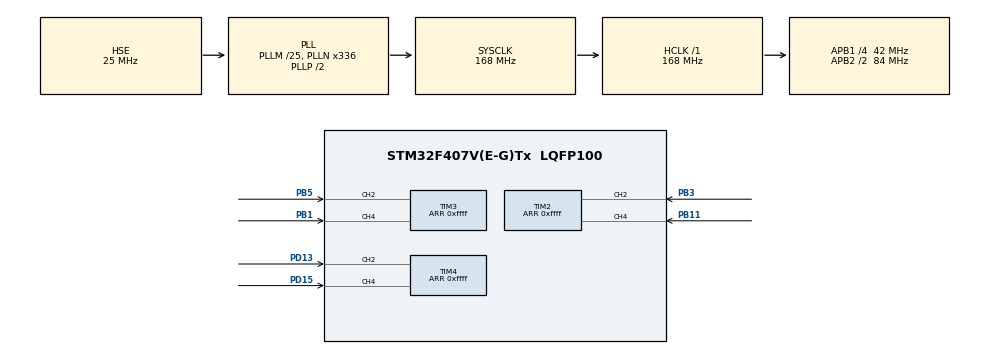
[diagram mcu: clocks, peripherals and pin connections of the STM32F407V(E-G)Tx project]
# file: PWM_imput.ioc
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Mcu.Family=STM32F4
Mcu.Name=STM32F407V(E-G)Tx
Mcu.Package=LQFP100
NVIC.PriorityGroup=NVIC_PRIORITYGROUP_4
NVIC.TIM2_IRQn=true\:0\:0\:false\:false\:true\:true\:true
NVIC.TIM3_IRQn=true\:0\:0\:false\:false\:true\:true\:true
NVIC.TIM4_IRQn=true\:0\:0\:false\:false\:true\:true\:true
PB1.Signal=S_TIM3_CH4
PB11.Signal=S_TIM2_CH4
PB3.Signal=S_TIM2_CH2
PB5.Signal=S_TIM3_CH2
PD13.Signal=S_TIM4_CH2
PD15.Signal=S_TIM4_CH4
PH0-OSC_IN.Mode=HSE-External-Oscillator
PH0-OSC_IN.Signal=RCC_OSC_IN
PH1-OSC_OUT.Mode=HSE-External-Oscillator
PH1-OSC_OUT.Signal=RCC_OSC_OUT
ProjectManager.HeapSize=0x200
ProjectManager.StackSize=0x400
ProjectManager.TargetToolchain=MDK-ARM V5.27
RCC.48MHZClocksFreq_Value=84000000
RCC.AHBFreq_Value=168000000
RCC.APB1CLKDivider=RCC_HCLK_DIV4
RCC.APB1Freq_Value=42000000
RCC.APB1TimFreq_Value=84000000
RCC.APB2CLKDivider=RCC_HCLK_DIV2
RCC.APB2Freq_Value=84000000
RCC.APB2TimFreq_Value=168000000
RCC.CortexFreq_Value=168000000
RCC.HCLKFreq_Value=168000000
RCC.HSE_VALUE=25000000
RCC.HSI_VALUE=16000000
RCC.LSE_VALUE=32768
RCC.PLLM=25
RCC.PLLN=336
RCC.PLLSourceVirtual=RCC_PLLSOURCE_HSE
RCC.SYSCLKFreq_VALUE=168000000
RCC.SYSCLKSource=RCC_SYSCLKSOURCE_PLLCLK
RCC.VCOOutputFreq_Value=336000000
SH.S_TIM2_CH2.0=TIM2_CH2,TriggerSource_TI2FP2
SH.S_TIM2_CH2.1=TIM2_CH2,Input_Capture2_from_TI2
SH.S_TIM2_CH2.2=TIM2_CH2,Input_Capture1_from_TI2
SH.S_TIM2_CH4.0=TIM2_CH4,Input_Capture3_from_TI4
SH.S_TIM2_CH4.1=TIM2_CH4,Input_Capture4_from_TI4
SH.S_TIM3_CH2.0=TIM3_CH2,Input_Capture2_from_TI2
SH.S_TIM3_CH2.1=TIM3_CH2,Input_Capture1_from_TI2
SH.S_TIM3_CH2.2=TIM3_CH2,TriggerSource_TI2FP2
SH.S_TIM3_CH4.0=TIM3_CH4,Input_Capture4_from_TI4
SH.S_TIM3_CH4.1=TIM3_CH4,Input_Capture3_from_TI4
SH.S_TIM4_CH2.0=TIM4_CH2,TriggerSource_TI2FP2
SH.S_TIM4_CH2.1=TIM4_CH2,Input_Capture2_from_TI2
SH.S_TIM4_CH2.2=TIM4_CH2,Input_Capture1_from_TI2
SH.S_TIM4_CH4.0=TIM4_CH4,Input_Capture4_from_TI4
SH.S_TIM4_CH4.1=TIM4_CH4,Input_Capture3_from_TI4
TIM2.Channel-Input_Capture1_from_TI2=TIM_CHANNEL_1
TIM2.Channel-Input_Capture2_from_TI2=TIM_CHANNEL_2
TIM2.Channel-Input_Capture3_from_TI4=TIM_CHANNEL_3
TIM2.Channel-Input_Capture4_from_TI4=TIM_CHANNEL_4
TIM2.ICPolarity_CH1=TIM_INPUTCHANNELPOLARITY_FALLING
TIM2.ICPolarity_CH3=TIM_INPUTCHANNELPOLARITY_FALLING
TIM2.Period=0xffff
TIM3.Channel-Input_Capture1_from_TI2=TIM_CHANNEL_1
TIM3.Channel-Input_Capture2_from_TI2=TIM_CHANNEL_2
TIM3.Channel-Input_Capture3_from_TI4=TIM_CHANNEL_3
TIM3.Channel-Input_Capture4_from_TI4=TIM_CHANNEL_4
TIM3.ICPolarity_CH1=TIM_INPUTCHANNELPOLARITY_FALLING
TIM3.ICPolarity_CH3=TIM_INPUTCHANNELPOLARITY_FALLING
TIM3.Period=0xffff
TIM4.Channel-Input_Capture1_from_TI2=TIM_CHANNEL_1
TIM4.Channel-Input_Capture2_from_TI2=TIM_CHANNEL_2
TIM4.Channel-Input_Capture3_from_TI4=TIM_CHANNEL_3
TIM4.Channel-Input_Capture4_from_TI4=TIM_CHANNEL_4
TIM4.ICPolarity_CH1=TIM_INPUTCHANNELPOLARITY_FALLING
TIM4.ICPolarity_CH3=TIM_INPUTCHANNELPOLARITY_FALLING
TIM4.Period=0xffff
VP_TIM2_VS_ControllerModeReset.Mode=Reset Mode
VP_TIM3_VS_ControllerModeReset.Mode=Reset Mode
VP_TIM4_VS_ControllerModeReset.Mode=Reset Mode
board=custom

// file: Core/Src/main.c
/* USER CODE BEGIN Header */
/**
  ******************************************************************************
  * @file           : main.c
  * @brief          : Main program body
  ******************************************************************************
  * @attention
  *
  * <h2><center>&copy; Copyright (c) 2021 STMicroelectronics.
  * All rights reserved.</center></h2>
  *
  * This software component is licensed by ST under BSD 3-Clause license,
  * the "License"; You may not use this file except in compliance with the
  * License. You may obtain a copy of the License at:
  *                        opensource.org/licenses/BSD-3-Clause
  *
  ******************************************************************************
  */
/* USER CODE END Header */
#include "main.h"
#include "tim.h"
#include "gpio.h"

/* USER CODE BEGIN PV */
uint32_t IC_Val1;
uint32_t IC_Val2;

uint32_t Frequency_2;
uint32_t Duty_Cycle_2;

uint32_t Frequency_2_;
uint32_t Duty_Cycle_2_;

uint32_t Frequency_3;
uint32_t Duty_Cycle_3;

uint32_t Frequency_3_;
uint32_t Duty_Cycle_3_;

uint32_t Frequency_4;
uint32_t Duty_Cycle_4;

uint32_t Frequency_4_;
uint32_t Duty_Cycle_4_;
/* USER CODE END PV */

void SystemClock_Config(void);

int main(void)
{

  /* MCU Configuration--------------------------------------------------------*/

  /* Reset of all peripherals, Initializes the Flash interface and the Systick. */
  HAL_Init();

  /* Configure the system clock */
  SystemClock_Config();

  /* Initialize all configured peripherals */
  MX_GPIO_Init();
  MX_TIM2_Init();
  MX_TIM3_Init();
  MX_TIM4_Init();
  /* USER CODE BEGIN 2 */
	HAL_TIM_IC_Start_IT(&htim2, TIM_CHANNEL_1);
	HAL_TIM_IC_Start_IT(&htim2, TIM_CHANNEL_2);
	HAL_TIM_IC_Start_IT(&htim2, TIM_CHANNEL_3);
	HAL_TIM_IC_Start_IT(&htim2, TIM_CHANNEL_4);

	HAL_TIM_IC_Start_IT(&htim3, TIM_CHANNEL_1);
	HAL_TIM_IC_Start_IT(&htim3, TIM_CHANNEL_2);
	HAL_TIM_IC_Start_IT(&htim3, TIM_CHANNEL_3);
	HAL_TIM_IC_Start_IT(&htim3, TIM_CHANNEL_4);

	HAL_TIM_IC_Start_IT(&htim4, TIM_CHANNEL_1);
	HAL_TIM_IC_Start_IT(&htim4, TIM_CHANNEL_2);
	HAL_TIM_IC_Start_IT(&htim4, TIM_CHANNEL_3);
	HAL_TIM_IC_Start_IT(&htim4, TIM_CHANNEL_4);
  /* USER CODE END 2 */

  /* Infinite loop */
  while (1)
  {

  }
}

void SystemClock_Config(void)
{
  RCC_OscInitTypeDef RCC_OscInitStruct = {0};
  RCC_ClkInitTypeDef RCC_ClkInitStruct = {0};

  /** Configure the main internal regulator output voltage
  */
  __HAL_RCC_PWR_CLK_ENABLE();
  __HAL_PWR_VOLTAGESCALING_CONFIG(PWR_REGULATOR_VOLTAGE_SCALE1);
  /** Initializes the RCC Oscillators according to the specified parameters
  * in the RCC_OscInitTypeDef structure.
  */
  RCC_OscInitStruct.OscillatorType = RCC_OSCILLATORTYPE_HSE;
  RCC_OscInitStruct.HSEState = RCC_HSE_ON;
  RCC_OscInitStruct.PLL.PLLState = RCC_PLL_ON;
  RCC_OscInitStruct.PLL.PLLSource = RCC_PLLSOURCE_HSE;
  RCC_OscInitStruct.PLL.PLLM = 25;
  RCC_OscInitStruct.PLL.PLLN = 336;
  RCC_OscInitStruct.PLL.PLLP = RCC_PLLP_DIV2;
  RCC_OscInitStruct.PLL.PLLQ = 4;
  if (HAL_RCC_OscConfig(&RCC_OscInitStruct) != HAL_OK)
  {
    Error_Handler();
  }
  /** Initializes the CPU, AHB and APB buses clocks
  */
  RCC_ClkInitStruct.ClockType = RCC_CLOCKTYPE_HCLK|RCC_CLOCKTYPE_SYSCLK
                              |RCC_CLOCKTYPE_PCLK1|RCC_CLOCKTYPE_PCLK2;
  RCC_ClkInitStruct.SYSCLKSource = RCC_SYSCLKSOURCE_PLLCLK;
  RCC_ClkInitStruct.AHBCLKDivider = RCC_SYSCLK_DIV1;
  RCC_ClkInitStruct.APB1CLKDivider = RCC_HCLK_DIV4;
  RCC_ClkInitStruct.APB2CLKDivider = RCC_HCLK_DIV2;

  if (HAL_RCC_ClockConfig(&RCC_ClkInitStruct, FLASH_LATENCY_5) != HAL_OK)
  {
    Error_Handler();
  }
}

/* USER CODE BEGIN 4 */
//Write Input Capture Call Back
void HAL_TIM_IC_CaptureCallback(TIM_HandleTypeDef *htim)
{
  /* Prevent unused argument(s) compilation warning */
  UNUSED(htim);

  /* NOTE : This function should not be modified, when the callback is needed,
            the HAL_TIM_IC_CaptureCallback could be implemented in the user file
   */
	//Timer 2 PWM interrupt
	if(htim->Instance == TIM2){
      if(htim -> Channel == HAL_TIM_ACTIVE_CHANNEL_2) {
	 //Read Captured Value
	 //First Value - time period of the pulse
	 IC_Val1 = HAL_TIM_ReadCapturedValue(htim, TIM_CHANNEL_2);

	 if(IC_Val1 != 0)
	 {
		 //Second Vlaue - time for the pulse remain high
		 IC_Val2 = HAL_TIM_ReadCapturedValue(htim, TIM_CHANNEL_1);

		 //Calculate Duty Cycle - set to integer = IC_Val2_2 / IC_Val1_2 * 100
		 Duty_Cycle_2 = IC_Val2 * 100 / IC_Val1;

		 //Calculated Frequency - Timer Clock / IC_Val1_2, which timerclock = 2 * pclk1
		 Frequency_2 = 2 * HAL_RCC_GetPCLK1Freq() / IC_Val1;
	 }
	  else
		{
			Duty_Cycle_2 = 0;
			Frequency_2 = 0;
		}
	 }

	 if(htim -> Channel == HAL_TIM_ACTIVE_CHANNEL_4) {
	 //Read Captured Value
	 //First Value - time period of the pulse

	 IC_Val1 = HAL_TIM_ReadCapturedValue(htim, TIM_CHANNEL_4);

	 if(IC_Val1 != 0)
	 {
		 //Second Vlaue - time for the pulse remain high
		 IC_Val2 = HAL_TIM_ReadCapturedValue(htim, TIM_CHANNEL_3);

		 //Calculate Duty Cycle - set to integer = IC_Val2_2 / IC_Val1_2 * 100
		 Duty_Cycle_2_ = IC_Val2 * 100 / IC_Val1;

		 //Calculated Frequency - Timer Clock / IC_Val1_2, which timerclock = 2 * pclk1
		 Frequency_2_ = 2 * HAL_RCC_GetPCLK1Freq() / IC_Val1;
	 }
	  else
		{
			Duty_Cycle_2_ = 0;
			Frequency_2_ = 0;
		}
	 }
	}

	//Timer 3 PWM interrupt
	if(htim->Instance == TIM3){
      if(htim -> Channel == HAL_TIM_ACTIVE_CHANNEL_2) {
	 //Read Captured Value
	 //First Value - time period of the pulse
	 IC_Val1 = HAL_TIM_ReadCapturedValue(htim, TIM_CHANNEL_2);

	 if(IC_Val1 != 0)
	 {
		 //Second Vlaue - time for the pulse remain high
		 IC_Val2 = HAL_TIM_ReadCapturedValue(htim, TIM_CHANNEL_1);

		 //Calculate Duty Cycle - set to integer = IC_Val2_2 / IC_Val1_2 * 100
		 Duty_Cycle_3 = IC_Val2 * 100 / IC_Val1;

		 //Calculated Frequency - Timer Clock / IC_Val1_2, which timerclock = 2 * pclk1
		 Frequency_3 = 2 * HAL_RCC_GetPCLK1Freq() / IC_Val1;
	 }
	  else
		{
			Duty_Cycle_3 = 0;
			Frequency_3 = 0;
		}
	 }

	 if(htim -> Channel == HAL_TIM_ACTIVE_CHANNEL_4) {
	 //Read Captured Value
	 //First Value - time period of the pulse

	 IC_Val1 = HAL_TIM_ReadCapturedValue(htim, TIM_CHANNEL_4);

	 if(IC_Val1 != 0)
	 {
		 //Second Vlaue - time for the pulse remain high
		 IC_Val2 = HAL_TIM_ReadCapturedValue(htim, TIM_CHANNEL_3);

		 //Calculate Duty Cycle - set to integer = IC_Val2_2 / IC_Val1_2 * 100
		 Duty_Cycle_3_ = IC_Val2 * 100 / IC_Val1;

		 //Calculated Frequency - Timer Clock / IC_Val1_2, which timerclock = 2 * pclk1
		 Frequency_3_ = 2 * HAL_RCC_GetPCLK1Freq() / IC_Val1;
	 }
	  else
		{
			Duty_Cycle_3_ = 0;
			Frequency_3_ = 0;
		}
	 }
	}

	//Timer 4 PWM interrupt
	if(htim->Instance == TIM4){
      if(htim -> Channel == HAL_TIM_ACTIVE_CHANNEL_2) {
	 //Read Captured Value
	 //First Value - time period of the pulse
	 IC_Val1 = HAL_TIM_ReadCapturedValue(htim, TIM_CHANNEL_2);

	 if(IC_Val1 != 0)
	 {
		 //Second Vlaue - time for the pulse remain high
		 IC_Val2 = HAL_TIM_ReadCapturedValue(htim, TIM_CHANNEL_1);

		 //Calculate Duty Cycle - set to integer = IC_Val2_2 / IC_Val1_2 * 100
		 Duty_Cycle_4 = IC_Val2 * 100 / IC_Val1;

		 //Calculated Frequency - Timer Clock / IC_Val1_2, which timerclock = 2 * pclk1
		 Frequency_4 = 2 * HAL_RCC_GetPCLK1Freq() / IC_Val1;
	 }
	  else
		{
			Duty_Cycle_4 = 0;
			Frequency_4 = 0;
		}
	 }

	 if(htim -> Channel == HAL_TIM_ACTIVE_CHANNEL_4) {
	 //Read Captured Value
	 //First Value - time period of the pulse

	 IC_Val1 = HAL_TIM_ReadCapturedValue(htim, TIM_CHANNEL_4);

	 if(IC_Val1 != 0)
	 {
		 //Second Vlaue - time for the pulse remain high
		 IC_Val2 = HAL_TIM_ReadCapturedValue(htim, TIM_CHANNEL_3);

		 //Calculate Duty Cycle - set to integer = IC_Val2_2 / IC_Val1_2 * 100
		 Duty_Cycle_4_ = IC_Val2 * 100 / IC_Val1;

		 //Calculated Frequency - Timer Clock / IC_Val1_2, which timerclock = 2 * pclk1
		 Frequency_4_ = 2 * HAL_RCC_GetPCLK1Freq() / IC_Val1;
	 }
	  else
		{
			Duty_Cycle_4_ = 0;
			Frequency_4_ = 0;
		}
	 }
	}

	/*
	if(htim->Instance == TIM3){
      if(htim -> Channel == HAL_TIM_ACTIVE_CHANNEL_2) {
	 //Read Captured Value
	 //First Value - time period of the pulse
	 IC_Val1 = HAL_TIM_ReadCapturedValue(htim, TIM_CHANNEL_2);

	 if(IC_Val1 != 0)
	 {
		 //Second Vlaue - time for the pulse remain high
		 IC_Val2 = HAL_TIM_ReadCapturedValue(htim, TIM_CHANNEL_1);

		 //Calculate Duty Cycle - set to integer = IC_Val2_2 / IC_Val1_2 * 100
		 Duty_Cycle_3 = IC_Val2 * 100 / IC_Val1;

		 //Calculated Frequency - Timer Clock / IC_Val1_2, which timerclock = 2 * pclk1
		 Frequency_3 = 2 * HAL_RCC_GetPCLK1Freq() / IC_Val1;
	 }
	  else
		{
			Duty_Cycle_3 = 0;
			Frequency_3 = 0;
		}
	 }
	}
	*/
}

/* USER CODE END 4 */

void Error_Handler(void)
{
  __disable_irq();
  while (1)
  {
  }
}

/************************ (C) COPYRIGHT STMicroelectronics *****END OF FILE****/
